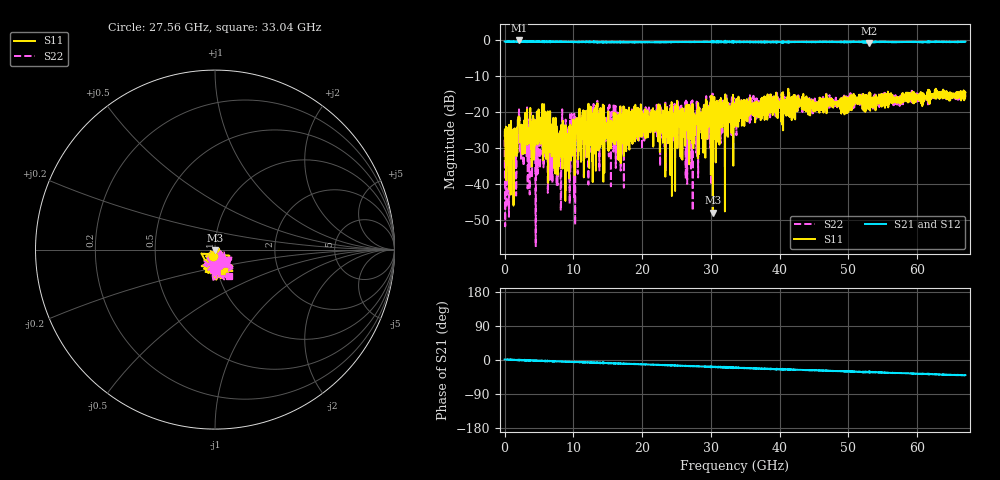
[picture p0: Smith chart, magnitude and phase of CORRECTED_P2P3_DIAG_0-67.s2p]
! Generated by Phase II Calibration
# Hz S RI R 50
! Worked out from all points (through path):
!   1601 points, 10 MHz to 67 GHz, reference 50 ohm
!   highest |S21| = -0.22 dB at 2.103 GHz (marker M1); lowest = -0.9 dB at 52.97 GHz (marker M2)
!   group delay of S21, straight-line fit = 1.73 ps
!   lowest |S11| = -48.0 dB at 30.28 GHz (marker M3), VSWR 1.01, Z = 49.9 - j0.392 ohm
!   |S11| at or under -10 dB: start of sweep to end of sweep
!   |S22| runs from -57.2 to -14.0 dB; largest |S21 - S12| = 0.0038
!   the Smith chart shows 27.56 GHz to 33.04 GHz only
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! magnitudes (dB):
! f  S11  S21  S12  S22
! 10 MHz  -26.6  -0.5  -0.5  -27.7
! 428.7 MHz  -31.7  -0.5  -0.5  -36.5
! 1.643 GHz  -29.8  -0.5  -0.5  -29.9
! 2.103 GHz  -22.2  -0.2  -0.2  -19.3
! 2.606 GHz  -31.7  -0.5  -0.5  -29.5
! 4.155 GHz  -21.1  -0.6  -0.6  -30.5
! 4.825 GHz  -29.0  -0.6  -0.6  -33.2
! 5.034 GHz  -22.2  -0.6  -0.6  -27.2
! 5.579 GHz  -33.4  -0.7  -0.7  -21.3
! 6.625 GHz  -19.8  -0.7  -0.7  -37.7
! 9.054 GHz  -36.4  -0.6  -0.6  -33.6
! 11.19 GHz  -24.3  -0.5  -0.5  -25.9
! 13.16 GHz  -19.0  -0.5  -0.5  -26.1
! 15.12 GHz  -30.8  -0.8  -0.8  -25.9
! 22.37 GHz  -18.0  -0.7  -0.7  -27.1
! 27.69 GHz  -21.1  -0.6  -0.6  -20.7
! 30.28 GHz  -48.0  -0.8  -0.8  -21.2
! 33.51 GHz  -22.4  -0.5  -0.5  -17.7
! 44.68 GHz  -18.3  -0.7  -0.7  -20.2
! 52.97 GHz  -18.1  -0.9  -1.0  -18.7
! 55.86 GHz  -15.0  -0.6  -0.6  -16.6
! 67 GHz  -14.7  -0.6  -0.6  -15.4
